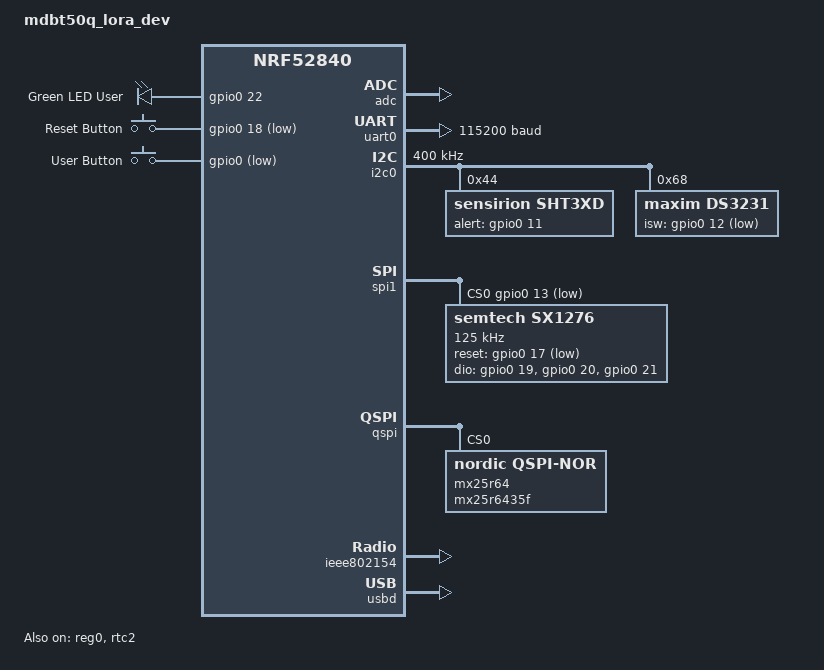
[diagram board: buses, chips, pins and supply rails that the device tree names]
/*
 * Copyright (c) 2025 Regis Rousseau
 *
 * SPDX-License-Identifier: Apache-2.0
 */

/dts-v1/;
#include <nordic/nrf52840_qiaa.dtsi>
#include "mdbt50q_lora_dev-pinctrl.dtsi"
#include <zephyr/dt-bindings/input/input-event-codes.h>

/ {
	model		= "mdbt50q_lora_dev";
	compatible	= "raytac,raytac-mdbt50q-db-40-nrf52840";

	chosen {
		zephyr,console		= &uart0;
		zephyr,shell-uart		= &uart0;
		zephyr,uart-mcumgr	= &uart0;
		zephyr,bt-mon-uart		= &uart0;
		zephyr,bt-c2h-uart		= &uart0;
		zephyr,ieee802154		= &ieee802154;
		zephyr,sram			= &sram0;
		zephyr,flash			= &flash0;
		zephyr,code-partition	= &slot0_partition;
	};

	leds {
		compatible = "gpio-leds";
		led_user: led_0 {
			gpios	= <&gpio0 22 GPIO_ACTIVE_HIGH>;
			label 	= "Green LED User";
		};
	};

	buttons {
		compatible = "gpio-keys";
		button0: button_0 {
			gpios		= <&gpio0 18 (GPIO_PULL_UP | GPIO_ACTIVE_LOW)>;
			label			= "Reset Button";
			zephyr,code	= <INPUT_KEY_0>;
		};
		button1: button_1{
			gpios		= <&gpio0 23(GPIO_PULL_UP | GPIO_ACTIVE_LOW)>;
			label			= "User Button";
			zephyr,code	= <INPUT_KEY_1>;
		};
	};

	aliases {
		ledtx				= &led_user;
		sw0				= &button0;
		sw1				= &button1;
		lora0			= &lora;
		mcuboot-button0 	= &button0;
		watchdog0		= &wdt0;
	};
};

&reg0 {
	status = "okay";
};

&reg1 {
	regulator-initial-mode = <NRF5X_REG_MODE_DCDC>;
};

&adc {
	status = "okay";
};

&uicr {
	gpio-as-nreset;
};

&gpiote {
	status = "okay";
};

&gpio0 {
	status = "okay";
};

&gpio1 {
	status = "okay";
};

&uart0 {
	compatible	= "nordic,nrf-uart";
	status		= "okay";
	current-speed	= <115200>;
	pinctrl-0		= <&uart0_default>;
	pinctrl-1		= <&uart0_sleep>;
	pinctrl-names	= "default","sleep";
};

&rtc2 {
	compatible	= "nordic,nrf-rtc";
        status		= "okay";
	cc-num      	= <3>;
        prescaler   	= <1>;	// 32768 Hz / (prescaler+1) = 16384 Hz
};

/* TPH sensor: SHT31 (0x44) & RTC: DS3231 (0x68) */

&i2c0 {
	compatible		= "nordic,nrf-twim";
	status			= "okay";
	pinctrl-0			= <&i2c0_default>;
	pinctrl-1			= <&i2c0_sleep>;
	pinctrl-names 		= "default", "sleep";
	//pinctrl-names		= "default";
	clock-frequency	= <I2C_BITRATE_FAST>;

	sht3xd@44 {
		compatible	= "sensirion,sht3xd";
		reg			= <0x44>;
		alert-gpios	= <&gpio0 11 GPIO_ACTIVE_HIGH>;
	};

	ds3231: ds3231@68 {
		compatible	= "maxim,ds3231";
		reg			= <0x68>;
		isw-gpios		= <&gpio0 12 (GPIO_PULL_UP | GPIO_ACTIVE_LOW)>;
	};
};

/* RFM95W module */

&spi1 {
	compatible	= "nordic,nrf-spi";
	status		= "okay";
	pinctrl-0		= <&spi1_default>;
	pinctrl-1		= <&spi1_sleep>;
	pinctrl-names	= "default", "sleep";

	cs-gpios	= <&gpio0 13 GPIO_ACTIVE_LOW>;
    
    	lora: sx1276@0 {
        	compatible	= "semtech,sx1276";
        	reg			= <0>;
        	label			= "sx1276";

        	reset-gpios	= <&gpio0 17 GPIO_ACTIVE_LOW>;
		dio-gpios		= <&gpio0 19 (GPIO_PULL_DOWN | GPIO_ACTIVE_HIGH)>,
            	    	    	  	   <&gpio0 20 (GPIO_PULL_DOWN | GPIO_ACTIVE_HIGH)>,
                                  	   <&gpio0 21 (GPIO_PULL_DOWN | GPIO_ACTIVE_HIGH)>;

        	// spi-max-frequency	= <10000000>; 
		spi-max-frequency		= <125000>;
        	power-amplifier-output	= "pa-boost";
    	};
};

/* EEPROM Serial Flash Memory: MX25R6435 */

&qspi {
	status		= "okay";
	pinctrl-0 		= <&qspi_default>;
	pinctrl-1		= <&qspi_sleep>;
	pinctrl-names	= "default", "sleep";
	
	mx25r64: mx25r6435f@0 {
		compatible	= "nordic,qspi-nor";
		reg			= <0>;
		/* MX25R64 supports only pp and pp4io */
		writeoc		= "pp4io";
		/* MX25R64 supports all readoc options */
		readoc		= "read4io";
		sck-frequency	= <8000000>;
		jedec-id		= [c2 28 17];
		sfdp-bfp		= [
					e5 20 f1 ff  ff ff ff 03  44 eb 08 6b  08 3b 04 bb
					ee ff ff ff  ff ff 00 ff  ff ff 00 ff  0c 20 0f 52
					10 d8 00 ff  23 72 f5 00  82 ed 04 cc  44 83 68 44
					30 b0 30 b0  f7 c4 d5 5c  00 be 29 ff  f0 d0 ff ff
		];
		size			= <67108864>;
		has-dpd;
		t-enter-dpd	= <10000>;
		t-exit-dpd		= <35000>;
	};
};

/* internal flash memory */

&flash0 {
	partitions {
		compatible 	= "fixed-partitions";
		#address-cells	= <1>;
		#size-cells	= <1>;

		boot_partition: partition@0 {
			label 	= "mcuboot";
			reg 		= <0x00000000 0x0000C000>;
		};
		slot0_partition: partition@c000 {
			label 	= "image-0";
			reg 		= <0x0000C000 0x00077000>;
		};
		slot1_partition: partition@83000 {
			label 	= "image-1";
			reg 		= <0x00083000 0x00075000>;
		};
		/* 32KB (8x4kB pages) of storage at the end of the 1MB flash */
		storage_partition: partition@f8000 {
			label		= "storage";																																																																				
			reg 		= <0x000f8000 0x00008000>;
		};
	};
};

&ieee802154 {
	status = "okay";
};

zephyr_udc0: &usbd {
	compatible	= "nordic,nrf-usbd";
	status		= "okay";
};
